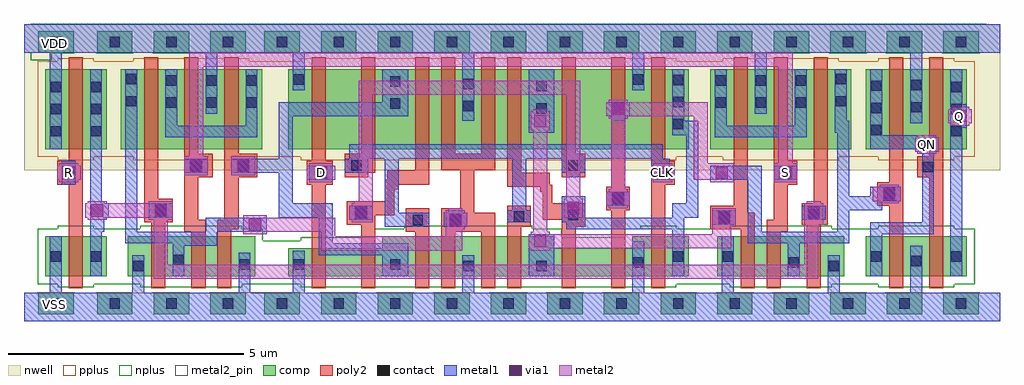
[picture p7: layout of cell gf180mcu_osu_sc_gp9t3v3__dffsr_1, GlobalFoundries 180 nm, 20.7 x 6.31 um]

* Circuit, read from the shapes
.subckt gf180mcu_osu_sc_gp9t3v3__dffsr_1 CLK D Q QN R S VDD VSS
XM1 n1 R VSS VSS nfet_03v3 w=0.85u l=0.3u
XM2 n2 n1 VSS VSS nfet_03v3 w=0.85u l=0.3u
XM3 n3 S n2 VSS nfet_03v3 w=0.85u l=0.3u
XM4 VSS n4 n3 VSS nfet_03v3 w=0.85u l=0.3u
XM5 n5 D VSS VSS nfet_03v3 w=0.6u l=0.3u
XM6 n4 n6 n5 VSS nfet_03v3 w=0.6u l=0.3u
XM7 n7 CLK n4 VSS nfet_03v3 w=0.85u l=0.3u
XM8 VSS n2 n7 VSS nfet_03v3 w=0.85u l=0.3u
XM9 n8 n2 VSS VSS nfet_03v3 w=0.85u l=0.3u
XM10 n9 CLK n8 VSS nfet_03v3 w=0.85u l=0.3u
XM11 n10 n6 n9 VSS nfet_03v3 w=0.6u l=0.3u
XM12 VSS n11 n10 VSS nfet_03v3 w=0.6u l=0.3u
XM13 n6 CLK VSS VSS nfet_03v3 w=0.85u l=0.3u
XM14 n12 n9 VSS VSS nfet_03v3 w=0.85u l=0.3u
XM15 n11 S n12 VSS nfet_03v3 w=0.85u l=0.3u
XM16 VSS n1 n11 VSS nfet_03v3 w=0.85u l=0.3u
XM17 VSS n11 QN VSS nfet_03v3 w=0.85u l=0.3u
XM18 Q QN VSS VSS nfet_03v3 w=0.85u l=0.3u
XM19 n1 R VDD VDD pfet_03v3 w=1.7u l=0.3u
XM20 n13 n1 n2 VDD pfet_03v3 w=1.7u l=0.3u
XM21 VDD S n13 VDD pfet_03v3 w=1.7u l=0.3u
XM22 n13 n4 VDD VDD pfet_03v3 w=1.7u l=0.3u
XM23 n14 D VDD VDD pfet_03v3 w=1.7u l=0.3u
XM24 n4 CLK n14 VDD pfet_03v3 w=1.7u l=0.3u
XM25 n15 n6 n4 VDD pfet_03v3 w=1.7u l=0.3u
XM26 VDD n2 n15 VDD pfet_03v3 w=1.7u l=0.3u
XM27 n16 n2 VDD VDD pfet_03v3 w=1.7u l=0.3u
XM28 n9 n6 n16 VDD pfet_03v3 w=1.7u l=0.3u
XM29 n17 CLK n9 VDD pfet_03v3 w=1.7u l=0.3u
XM30 VDD n11 n17 VDD pfet_03v3 w=1.7u l=0.3u
XM31 n6 CLK VDD VDD pfet_03v3 w=1.7u l=0.3u
XM32 VDD n9 n18 VDD pfet_03v3 w=1.7u l=0.3u
XM33 n18 S VDD VDD pfet_03v3 w=1.7u l=0.3u
XM34 n11 n1 n18 VDD pfet_03v3 w=1.7u l=0.3u
XM35 VDD n11 QN VDD pfet_03v3 w=1.7u l=0.3u
XM36 Q QN VDD VDD pfet_03v3 w=1.7u l=0.3u
.ends

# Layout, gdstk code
import gdstk
lib = gdstk.Library(unit=1e-6, precision=1e-09)
def R(c, l, rs):  # rectangles x0, y0, x1, y1
    for r in rs: c.add(gdstk.rectangle(r[:2], r[2:], *l))
def A(c, l, x, y, w, h, nx, ny, dx, dy):  # array of equal rectangles
    R(c, l, [(x+i*dx, y+j*dy, x+i*dx+w, y+j*dy+h) for i in range(nx) for j in range(ny)])
nwell = (21, 0)
comp = (22, 0)
poly2 = (30, 0)
pplus = (31, 0)
nplus = (32, 0)
contact = (33, 0)
metal1 = (34, 0)
via1 = (35, 0)
metal2 = (36, 0)
metal2_pin = (36, 10)

gf180mcu_osu_sc_gp9t3v3_ = lib.new_cell('gf180mcu_osu_sc_gp9t3v3__dffsr_1')
R(gf180mcu_osu_sc_gp9t3v3_, nwell, [(0,3.2,20.7,6.3)])
A(gf180mcu_osu_sc_gp9t3v3_, comp, 1.55, 0.15, 0.75, 0.45, 3, 2, 1.2, 5.55)
A(gf180mcu_osu_sc_gp9t3v3_, comp, 5.1, 0.15, 0.75, 0.45, 13, 2, 1.2, 5.55)
R(gf180mcu_osu_sc_gp9t3v3_, comp, [(0.3,0.15,1.05,0.6), (0.45,0.95,1.75,1.8), (2.2,0.95,4.9,1.8), (5.6,0.95,14.1,1.55), (14.7,0.95,17.4,1.8), (17.85,0.95,20,1.8), (7.6,1.55,11.25,1.8), (12.9,1.55,14.1,1.8), (0.45,3.65,1.75,5.35), (2.05,3.65,5.05,5.35), (5.6,3.65,14.1,5.35), (14.55,3.65,17.55,5.35), (17.85,3.65,20,5.35), (0.3,5.7,1.05,6.15)])
R(gf180mcu_osu_sc_gp9t3v3_, poly2, [(0.95,0.7,1.25,2.9), (2.7,0.7,3,2.1), (3.55,0.7,3.85,1.9), (4.1,0.7,4.4,1.95), (6.1,0.7,6.4,2.9), (7.15,0.7,7.45,2.05), (8.3,0.7,8.6,1.9), (8.85,0.7,9.15,1.9), (9.7,0.7,10,1.9), (10.25,0.7,10.55,2), (11.4,0.7,11.7,2), (12.45,0.7,12.75,2.35), (13.3,0.7,13.6,2.9), (15.2,0.7,15.5,1.95), (15.75,0.7,16.05,1.9), (16.6,0.7,16.9,2.05), (18.35,0.7,18.65,2.45), (19.2,0.7,19.5,3.05), (3.4,1.9,3.85,2.15), (8.1,1.9,8.6,2.4), (8.85,1.9,10,2.3), (15.75,1.9,16.2,2.15), (4.1,1.95,4.55,2.15), (14.55,1.95,15.5,2.3), (10.25,2,10.75,2.45), (11.4,2,11.9,2.15), (6.85,2.05,7.45,2.25), (16.5,2.05,17.05,2.5), (2.55,2.1,3.15,2.6), (3.4,2.15,3.7,3.05), (4.25,2.15,4.55,3.05), (11,2.15,11.9,2.5), (15.9,2.15,16.2,2.9), (6.85,2.25,7.85,2.55), (8.85,2.3,9.55,2.4), (14.55,2.3,15.35,2.45), (12.35,2.35,12.85,2.85), (9.25,2.4,9.55,3.2), (15.05,2.45,15.35,5.6), (18.1,2.45,18.65,2.95), (11,2.5,11.2,2.75), (16.75,2.5,17.05,5.6), (7.65,2.55,7.85,2.8), (2.55,2.6,2.85,5.6), (10.95,2.75,11.2,2.85), (7.65,2.8,7.95,2.9), (10.25,2.85,11.2,2.9), (12.45,2.85,12.75,5.6), (0.7,2.9,1.25,3.4), (6,2.9,6.55,3.4), (7.65,2.9,8.6,3), (10.25,2.9,11.15,3.15), (13.3,2.9,13.8,3.4), (15.9,2.9,16.4,3.4), (18.35,2.95,18.65,5.6), (7.7,3,8.6,3.2), (3.4,3.05,4,3.55), (4.25,3.05,4.95,3.55), (6.8,3.05,7.3,3.15), (11.4,3.05,11.9,3.55), (18.95,3.05,19.5,3.5), (6.8,3.15,7.45,3.55), (10.25,3.15,10.55,5.6), (8.3,3.2,8.6,5.6), (8.85,3.2,10,3.55), (0.95,3.4,1.25,5.6), (6.1,3.4,6.4,5.6), (13.3,3.4,13.6,5.6), (15.9,3.4,16.2,5.6), (19.2,3.5,19.5,5.6), (3.4,3.55,3.7,5.6), (4.25,3.55,4.55,5.6), (7.15,3.55,7.45,5.6), (8.85,3.55,9.15,5.6), (9.7,3.55,10,5.6), (11.4,3.55,11.7,5.6)])
A(gf180mcu_osu_sc_gp9t3v3_, pplus, 6.28, 0.13, 0.79, 0.49, 12, 1, 1.2, 0)
R(gf180mcu_osu_sc_gp9t3v3_, pplus, [(0,0,20.7,0.6), (0.28,0.13,1.07,0.62), (1.53,0.13,2.32,0.62), (2.73,0.13,3.52,0.62), (3.93,0.13,5.87,0.62), (0.72,3.42,1.48,3.49), (2.32,3.42,4.78,3.49), (5.87,3.42,13.83,3.49), (14.82,3.42,17.28,3.49), (18.12,3.42,19.73,3.49), (0.29,3.49,20.16,5.51), (0.72,5.51,1.48,5.58), (2.32,5.51,4.78,5.58), (5.87,5.51,13.83,5.58), (14.82,5.51,17.28,5.58), (18.12,5.51,19.73,5.58)])
A(gf180mcu_osu_sc_gp9t3v3_, nplus, 6.28, 5.68, 0.79, 0.02, 12, 1, 1.2, 0)
R(gf180mcu_osu_sc_gp9t3v3_, nplus, [(0.72,0.72,1.48,0.79), (2.47,0.72,4.63,0.79), (5.87,0.72,13.83,0.79), (14.97,0.72,17.13,0.79), (18.12,0.72,19.73,0.79), (0.29,0.79,20.16,1.71), (0.29,1.71,5.06,1.96), (5.87,1.71,20.16,1.78), (7.44,1.78,11.41,1.96), (12.74,1.78,20.16,1.96), (0.72,1.96,1.48,2.03), (2.47,1.96,4.63,2.03), (8.07,1.96,10.78,2.03), (13.07,1.96,13.83,2.03), (14.97,1.96,17.13,2.03), (18.12,1.96,19.73,2.03), (0.14,5.54,0.59,5.68), (0.14,5.68,1.07,5.7), (1.53,5.68,2.32,5.7), (2.73,5.68,3.52,5.7), (3.93,5.68,5.87,5.7), (0,5.7,20.7,6.3), (0,5.7,20.7,6.3), (0.14,6.3,20.41,6.31)])
A(gf180mcu_osu_sc_gp9t3v3_, contact, 1.815, 0.265, 0.22, 0.22, 3, 2, 1.2, 5.55)
A(gf180mcu_osu_sc_gp9t3v3_, contact, 5.365, 0.265, 0.22, 0.22, 13, 2, 1.2, 5.55)
A(gf180mcu_osu_sc_gp9t3v3_, contact, 0.565, 3.92, 0.22, 0.22, 1, 3, 0, 0.47)
A(gf180mcu_osu_sc_gp9t3v3_, contact, 1.415, 3.92, 0.22, 0.22, 1, 3, 0, 0.47)
A(gf180mcu_osu_sc_gp9t3v3_, contact, 19.665, 3.92, 0.22, 0.22, 1, 3, 0, 0.47)
A(gf180mcu_osu_sc_gp9t3v3_, contact, 17.965, 3.945, 0.22, 0.22, 1, 3, 0, 0.47)
A(gf180mcu_osu_sc_gp9t3v3_, contact, 13.765, 4.07, 0.22, 0.22, 1, 3, 0, 0.47)
A(gf180mcu_osu_sc_gp9t3v3_, contact, 3.015, 4.53, 0.22, 0.22, 3, 2, 0.85, 0.47)
A(gf180mcu_osu_sc_gp9t3v3_, contact, 14.665, 4.53, 0.22, 0.22, 3, 2, 0.85, 0.47)
R(gf180mcu_osu_sc_gp9t3v3_, contact, [(0.565,0.265,0.785,0.485), (2.315,1.065,2.535,1.285), (9.315,1.065,9.535,1.285), (10.865,1.065,11.085,1.285), (17.065,1.065,17.285,1.285), (4.565,1.09,4.785,1.31), (5.715,1.09,5.935,1.31), (7.765,1.09,7.985,1.31), (12.915,1.14,13.135,1.36), (16.215,1.14,16.435,1.36), (18.815,1.165,19.035,1.385), (3.165,1.19,3.385,1.41), (0.565,1.265,0.785,1.485), (1.415,1.265,1.635,1.485), (13.765,1.265,13.985,1.485), (14.815,1.265,15.035,1.485), (17.965,1.265,18.185,1.485), (19.665,1.265,19.885,1.485), (8.24,2.04,8.46,2.26), (9.04,2.04,9.26,2.26), (14.74,2.09,14.96,2.31), (10.39,2.115,10.61,2.335), (11.54,2.14,11.76,2.36), (16.64,2.165,16.86,2.385), (7.04,2.19,7.26,2.41), (2.79,2.24,3.01,2.46), (12.49,2.49,12.71,2.71), (18.24,2.59,18.46,2.81), (0.84,3.04,1.06,3.26), (6.19,3.04,6.41,3.26), (13.44,3.04,13.66,3.26), (16.04,3.04,16.26,3.26), (19.065,3.165,19.285,3.385), (3.54,3.19,3.76,3.41), (4.54,3.19,4.76,3.41), (6.94,3.19,7.16,3.41), (11.54,3.19,11.76,3.41), (10.865,4.405,11.085,4.625), (18.815,4.43,19.035,4.65), (9.315,4.455,9.535,4.675), (7.765,4.505,7.985,4.725), (2.165,4.555,2.385,4.775), (17.215,4.555,17.435,4.775), (10.865,4.875,11.085,5.095), (18.815,4.9,19.035,5.12), (9.315,4.925,9.535,5.145), (7.765,4.975,7.985,5.195), (5.715,5.015,5.935,5.235), (12.915,5.015,13.135,5.235), (2.165,5.025,2.385,5.245), (17.215,5.025,17.435,5.245), (0.565,5.815,0.785,6.035)])
R(gf180mcu_osu_sc_gp9t3v3_, metal1, [(0,0,20.7,0.6), (0.55,0.6,0.8,1.8), (2.3,0.6,2.55,1.4), (4.55,0.6,4.8,1.45), (5.7,0.6,5.95,1.5), (9.3,0.6,9.55,1.4), (12.9,0.6,13.15,1.7), (14.8,0.6,15.05,1.8), (17.05,0.6,17.3,1.4), (18.8,0.6,19.05,1.6), (1.4,0.95,1.65,1.9), (3.15,0.95,3.4,1.6), (7.6,0.95,8.15,1.4), (10.7,0.95,11.25,1.85), (13.75,0.95,14,1.95), (16.2,0.95,16.45,1.65), (17.95,0.95,18.2,1.85), (19.65,0.95,19.9,4.1), (6.25,1.4,8.15,1.65), (3.15,1.6,4.1,1.65), (2.15,1.65,4.1,1.9), (6.25,1.65,6.55,2.2), (15.35,1.65,17.5,1.9), (17.95,1.85,19.3,2.1), (1.4,1.9,1.7,2.2), (2.15,1.9,2.4,5.35), (3.85,1.9,5.15,2.2), (15.35,1.9,15.65,3), (17.25,1.9,17.5,2.35), (11.5,1.95,14,2.1), (7.65,2,8.6,2.3), (8.9,2,9.4,2.3), (14.6,2.05,15.1,2.35), (10.25,2.1,10.75,2.35), (11.4,2.1,14,2.2), (19.05,2.1,19.3,3.55), (6.9,2.15,7.4,2.45), (16.5,2.15,17,2.45), (1.4,2.2,1.8,2.5), (2.65,2.2,3.15,2.5), (5.4,2.2,6.55,2.5), (11.4,2.2,11.9,2.65), (13.75,2.2,14.3,2.5), (7.65,2.3,7.95,3.45), (9,2.3,9.3,2.35), (10.35,2.35,10.65,3.45), (17.25,2.35,18.2,2.55), (12.35,2.45,12.85,2.75), (1.4,2.5,1.7,2.55), (5.4,2.5,5.7,3.15), (14.05,2.5,14.3,3.95), (1.4,2.55,1.65,5.35), (17.25,2.55,18.6,2.65), (17.25,2.65,17.5,4), (17.95,2.65,18.6,2.85), (0.8,2.9,1.1,3.4), (6.05,3,6.55,3.3), (13.3,3,13.8,3.3), (14.55,3,15.65,3.3), (15.9,3,16.4,3.3), (11.5,3.05,11.8,3.15), (3.4,3.15,3.9,3.45), (4.4,3.15,5.7,3.45), (6.8,3.15,7.3,3.45), (11.4,3.15,11.9,3.45), (13.3,3.3,13.7,3.45), (5.4,3.45,5.7,4.35), (6.9,3.45,13.55,3.75), (19,3.55,19.3,3.6), (18.9,3.6,19.4,3.65), (0.55,3.65,0.8,5.7), (17.95,3.65,19.4,3.9), (3,3.9,4.95,4.15), (14.65,3.9,16.6,4.15), (17.95,3.9,19.3,3.95), (13.75,3.95,14.3,4.25), (17.95,3.95,18.2,5.35), (10.7,4,11.25,5.35), (17.2,4,17.5,4.25), (19.65,4.1,20,4.6), (3,4.15,3.25,5.35), (4.7,4.15,4.95,5.35), (14.65,4.15,14.9,5.35), (16.35,4.15,16.6,5.35), (18.8,4.2,19.05,5.7), (9.3,4.25,9.55,5.7), (12.45,4.25,12.75,4.35), (13.75,4.25,14,5.35), (17.2,4.25,17.45,5.35), (5.4,4.35,8.15,4.65), (12.35,4.35,12.85,4.65), (3.85,4.4,4.1,5.7), (15.5,4.4,15.75,5.7), (19.65,4.6,19.9,5.35), (7.6,4.65,8.15,5.35), (5.7,4.9,5.95,5.7), (12.9,4.9,13.15,5.7), (0,5.7,20.7,6.3)])
R(gf180mcu_osu_sc_gp9t3v3_, via1, [(10.82,1.57,11.08,1.83), (4.77,1.92,5.03,2.18), (9.02,2.02,9.28,2.28), (14.72,2.07,14.98,2.33), (7.02,2.17,7.28,2.43), (16.62,2.17,16.88,2.43), (1.42,2.22,1.68,2.48), (2.77,2.22,3.03,2.48), (11.52,2.27,11.78,2.53), (12.47,2.47,12.73,2.73), (18.22,2.57,18.48,2.83), (0.82,3.02,1.08,3.28), (6.17,3.02,6.43,3.28), (13.42,3.02,13.68,3.28), (14.67,3.02,14.93,3.28), (16.02,3.02,16.28,3.28), (3.52,3.17,3.78,3.43), (4.52,3.17,4.78,3.43), (19.02,3.62,19.28,3.88), (10.82,4.12,11.08,4.38), (19.72,4.22,19.98,4.48), (12.47,4.37,12.73,4.63)])
R(gf180mcu_osu_sc_gp9t3v3_, metal2, [(2.75,0.9,16.85,1.2), (2.75,1.2,3.05,2.15), (16.55,1.2,16.85,2.05), (6.3,1.5,9.3,1.8), (10.75,1.5,11.15,1.55), (10.7,1.55,15,1.85), (6.3,1.8,6.6,1.9), (8.95,1.8,9.3,1.95), (4.65,1.85,5.15,1.9), (10.75,1.85,11.15,1.9), (14.6,1.85,15,2), (4.65,1.9,6.6,2.2), (10.8,1.9,11.1,4.05), (8.95,1.95,9.35,2), (8.95,2,9.4,2.3), (14.6,2,15.1,2.4), (16.55,2.05,16.95,2.5), (6.95,2.1,7.4,2.15), (1.35,2.15,1.75,2.2), (2.65,2.15,3.15,2.2), (6.9,2.15,7.4,2.45), (1.3,2.2,3.15,2.5), (4.65,2.2,5.15,2.25), (11.45,2.2,11.85,2.6), (8.95,2.3,9.35,2.35), (9,2.35,9.3,2.4), (12.4,2.4,12.8,2.45), (6.95,2.45,7.4,2.5), (12.35,2.45,12.85,2.75), (1.35,2.5,1.75,2.55), (2.65,2.5,3.15,2.55), (7,2.5,7.4,2.55), (16.6,2.5,16.9,2.55), (18.15,2.5,18.55,2.55), (7.1,2.55,7.4,4.8), (18,2.55,18.6,2.85), (11.5,2.6,11.8,4.8), (12.4,2.75,12.8,2.8), (12.45,2.8,12.75,4.3), (18.15,2.85,18.55,2.9), (0.75,2.95,1.15,3), (6.05,2.95,6.55,3), (13.35,2.95,13.75,3), (14.55,2.95,15.05,3), (15.9,2.95,16.4,3.35), (0.7,3,1.2,3.3), (6,3,6.6,3.3), (13.3,3,13.8,3.3), (14.2,3,15.05,3.35), (3.4,3.1,3.9,3.5), (4.4,3.1,4.9,3.5), (0.75,3.3,1.15,3.35), (6.05,3.3,6.55,3.35), (13.35,3.3,13.75,3.35), (14.2,3.35,14.5,4.35), (16,3.35,16.3,5.4), (3.5,3.5,3.8,5.4), (18.95,3.55,19.35,3.6), (18.9,3.6,19.4,3.9), (18.95,3.9,19.35,3.95), (10.75,4.05,11.15,4.45), (19.65,4.15,20.05,4.2), (19.6,4.2,20.1,4.5), (12.4,4.3,12.8,4.35), (12.35,4.35,14.5,4.65), (10.8,4.45,11.1,4.5), (19.65,4.5,20.05,4.55), (12.4,4.65,12.8,4.7), (7.1,4.8,11.8,5.1), (3.5,5.4,16.3,5.7)])
R(gf180mcu_osu_sc_gp9t3v3_, metal2_pin, [(0.8,3,1.1,3.3), (16,3,16.3,3.3)])
gf180mcu_osu_sc_gp9t3v3_.add(gdstk.Label('VDD', (0.65,5.9), layer=22, texttype=0))
gf180mcu_osu_sc_gp9t3v3_.add(gdstk.Label('VSS', (0.65,0.35), layer=22, texttype=0))
gf180mcu_osu_sc_gp9t3v3_.add(gdstk.Label('D', (6.3,3.15), layer=36, texttype=10))
gf180mcu_osu_sc_gp9t3v3_.add(gdstk.Label('CLK', (13.55,3.15), layer=36, texttype=10))
gf180mcu_osu_sc_gp9t3v3_.add(gdstk.Label('Q', (19.85,4.35), layer=36, texttype=10))
gf180mcu_osu_sc_gp9t3v3_.add(gdstk.Label('QN', (19.15,3.75), layer=36, texttype=10))
gf180mcu_osu_sc_gp9t3v3_.add(gdstk.Label('R', (0.95,3.15), layer=36, texttype=10))
gf180mcu_osu_sc_gp9t3v3_.add(gdstk.Label('S', (16.15,3.15), layer=36, texttype=10))

lib.write_gds('gf180mcu_osu_sc_gp9t3v3__dffsr_1.gds')
